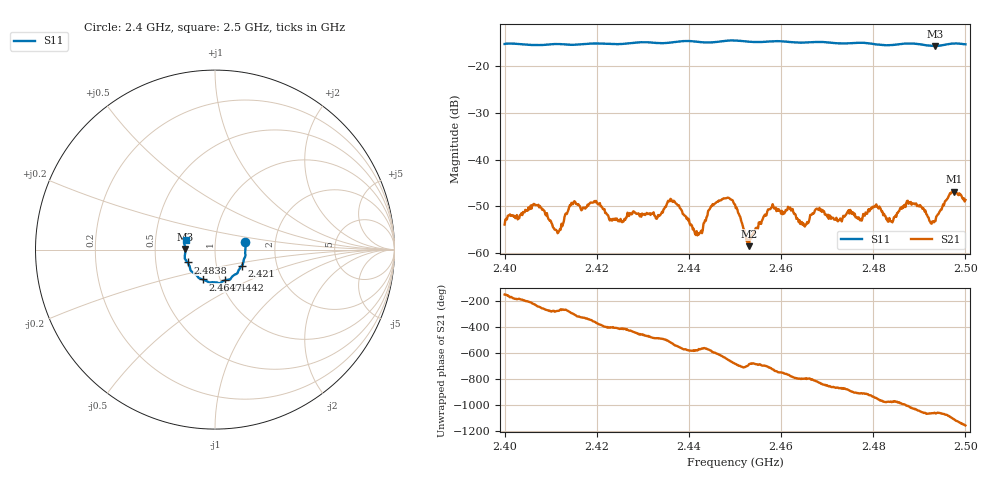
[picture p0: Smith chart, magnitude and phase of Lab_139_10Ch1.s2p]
# Hz S RI R 50
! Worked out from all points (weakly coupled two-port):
!   601 points, 2.4 GHz to 2.5 GHz, reference 50 ohm
!   highest |S21| = -46.84 dB at 2.4975 GHz (marker M1); lowest = -58.5 dB at 2.453 GHz (marker M2)
!   lowest |S11| = -15.7 dB at 2.4935 GHz (marker M3), VSWR 1.40, Z = 35.8 + j0.199 ohm
!   |S11| at or under -10 dB: start of sweep to end of sweep
!   S12 and S22 are empty: the file has one direction only
!   S11 on the Smith chart (normalised r, x): 2.4 GHz: 1.40, +0.12; 2.421 GHz: 1.33, -0.24; 2.4442 GHz: 1.05, -0.37; 2.4647 GHz: 0.83, -0.28; 2.4838 GHz: 0.73, -0.11; 2.5 GHz: 0.71, +0.08
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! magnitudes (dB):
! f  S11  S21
! 2.4 GHz  -15.2  -53.9
! 2.4068 GHz  -15.4  -49.7
! 2.4117 GHz  -15.2  -55.6
! 2.4147 GHz  -15.4  -49.5
! 2.4167 GHz  -15.3  -50.9
! 2.421 GHz  -15.1  -50.0
! 2.4333 GHz  -15.0  -51.9
! 2.4365 GHz  -14.9  -49.0
! 2.4418 GHz  -14.7  -56.2
! 2.4442 GHz  -14.9  -51.0
! 2.45 GHz  -14.5  -49.6
! 2.453 GHz  -14.7  -58.5
! 2.4578 GHz  -14.7  -50.3
! 2.4647 GHz  -14.9  -54.0
! 2.4667 GHz  -14.8  -51.8
! 2.4805 GHz  -15.3  -49.8
! 2.4833 GHz  -15.5  -53.3
! 2.4838 GHz  -15.5  -53.2
! 2.4877 GHz  -15.1  -49.5
! 2.4935 GHz  -15.7  -53.2
! 2.4975 GHz  -15.1  -46.8
! 2.5 GHz  -15.3  -48.6
